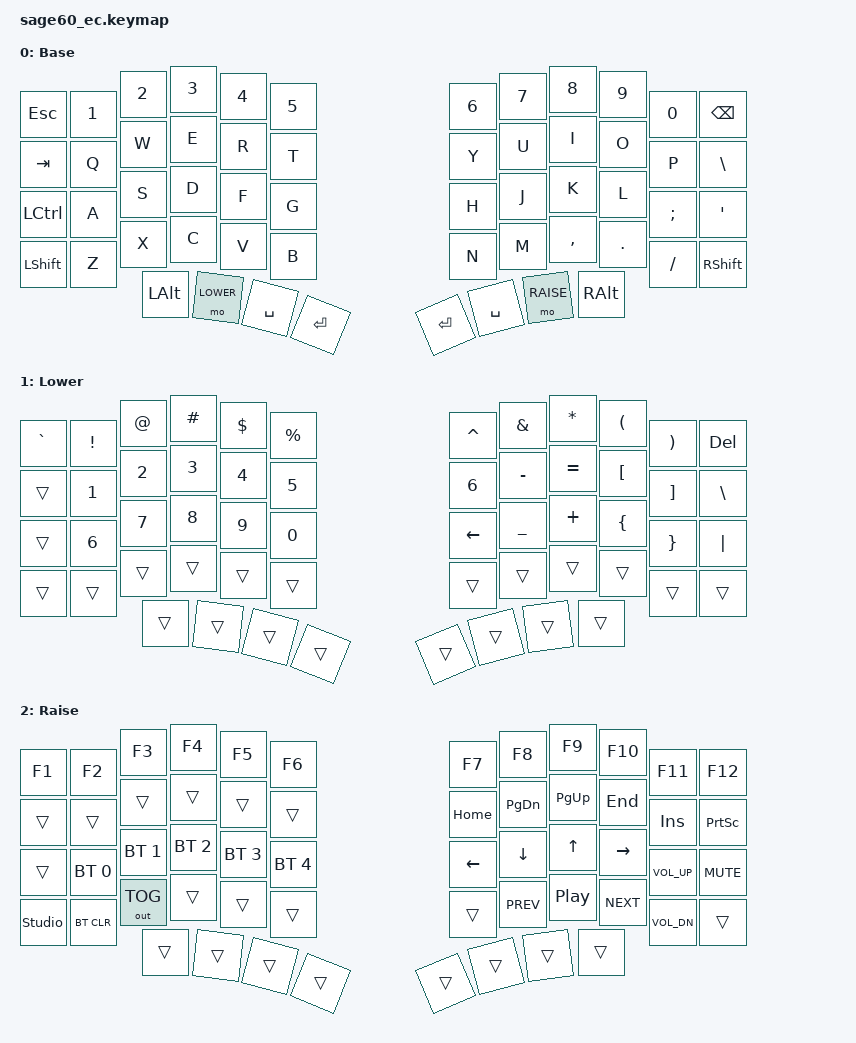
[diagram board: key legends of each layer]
/*
 * Copyright (c) 2026 Diwamoto_
 * SPDX-License-Identifier: MIT
 *
 * Sage60 EC default keymap (28 keys per half, 56 keys).
 * Key order matches default_transform: row by row, left columns 0-5
 * then right columns 6-11.
 */

#include <behaviors.dtsi>
#include <dt-bindings/zmk/keys.h>
#include <dt-bindings/zmk/bt.h>
#include <dt-bindings/zmk/outputs.h>

#define DEFAULT 0
#define LOWER   1
#define RAISE   2

/ {
    keymap {
        compatible = "zmk,keymap";

        default_layer {
            display-name = "Base";
            bindings = <
&kp ESC    &kp N1    &kp N2    &kp N3    &kp N4    &kp N5         &kp N6    &kp N7    &kp N8    &kp N9    &kp N0     &kp BSPC
&kp TAB    &kp Q     &kp W     &kp E     &kp R     &kp T          &kp Y     &kp U     &kp I     &kp O     &kp P      &kp BSLH
&kp LCTRL  &kp A     &kp S     &kp D     &kp F     &kp G          &kp H     &kp J     &kp K     &kp L     &kp SEMI   &kp SQT
&kp LSHFT  &kp Z     &kp X     &kp C     &kp V     &kp B          &kp N     &kp M     &kp COMMA &kp DOT   &kp FSLH   &kp RSHFT
                    &kp LALT  &mo LOWER  &kp SPACE  &kp RET      &kp RET  &kp SPACE  &mo RAISE  &kp RALT
            >;
        };

        lower_layer {
            display-name = "Lower";
            bindings = <
&kp GRAVE  &kp EXCL  &kp AT    &kp HASH  &kp DLLR  &kp PRCNT      &kp CARET &kp AMPS  &kp STAR  &kp LPAR  &kp RPAR   &kp DEL
&trans     &kp N1    &kp N2    &kp N3    &kp N4    &kp N5         &kp N6    &kp MINUS &kp EQUAL &kp LBKT  &kp RBKT   &kp BSLH
&trans     &kp N6    &kp N7    &kp N8    &kp N9    &kp N0         &kp LEFT  &kp UNDER &kp PLUS  &kp LBRC  &kp RBRC   &kp PIPE
&trans     &trans    &trans    &trans    &trans    &trans         &trans    &trans    &trans    &trans    &trans     &trans
                    &trans  &trans  &trans  &trans      &trans  &trans  &trans  &trans
            >;
        };

        raise_layer {
            display-name = "Raise";
            bindings = <
&kp F1     &kp F2    &kp F3    &kp F4    &kp F5    &kp F6         &kp F7    &kp F8    &kp F9    &kp F10   &kp F11    &kp F12
&trans     &trans    &trans    &trans    &trans    &trans         &kp HOME  &kp PG_DN &kp PG_UP &kp END   &kp INS    &kp PSCRN
&trans     &bt BT_SEL 0 &bt BT_SEL 1 &bt BT_SEL 2 &bt BT_SEL 3 &bt BT_SEL 4   &kp LEFT &kp DOWN &kp UP &kp RIGHT &kp C_VOL_UP &kp C_MUTE
&studio_unlock &bt BT_CLR &out OUT_TOG &trans &trans   &trans         &trans    &kp C_PREV &kp C_PP &kp C_NEXT &kp C_VOL_DN &trans
                    &trans  &trans  &trans  &trans      &trans  &trans  &trans  &trans
            >;
        };
    };
};
